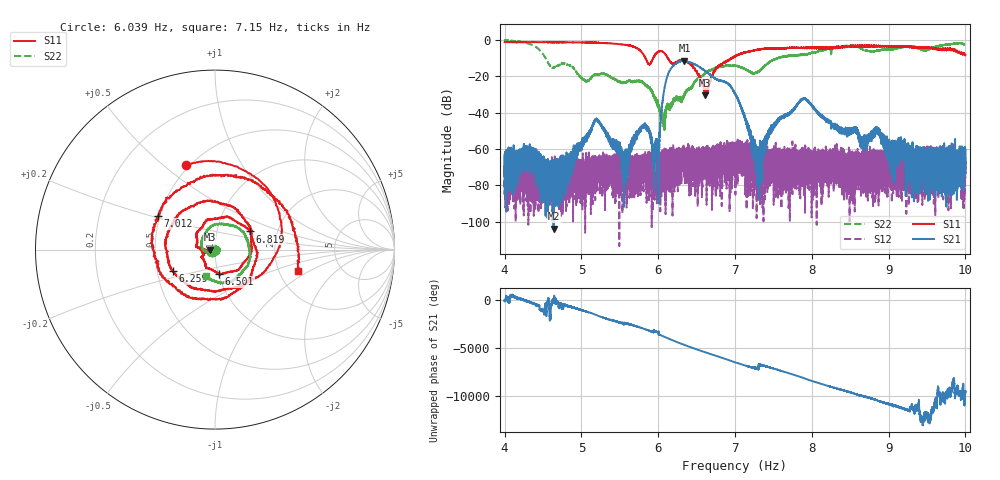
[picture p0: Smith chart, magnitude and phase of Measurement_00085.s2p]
!Created with skrf (http://scikit-rf.org).
# Hz S RI R 50.0
!freq ReS11 ImS11 ReS21 ImS21 ReS12 ImS12 ReS22 ImS22
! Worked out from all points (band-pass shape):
!   14001 points, 4 Hz to 10 Hz, reference 50 ohm
!   highest |S21| = -11.27 dB at 6.341 Hz (marker M1); lowest = -103.9 dB at 4.637 Hz (marker M2)
!   |S21| within 3 dB of the highest: 6.191608 Hz to 6.191751 Hz (143.1 uHz wide, 0.00231 % of centre); 6.193 Hz to 6.52 Hz (326.3 mHz wide, 5.13 % of centre)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
!   lowest |S11| = -30.3 dB at 6.61 Hz (marker M3), VSWR 1.06, Z = 47 + j0.013 ohm
!   |S11| at or under -10 dB: 5.834 Hz to 5.933 Hz (98.24 mHz wide, 1.67 % of centre); 6.125 Hz to 6.955 Hz (829.5 mHz wide, 12.7 % of centre); 6.95604 Hz to 6.956808 Hz (767.5 uHz wide, 0.011 % of centre)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
!   |S22| runs from -49.4 to -0.2 dB; largest |S21 - S12| = 0.27
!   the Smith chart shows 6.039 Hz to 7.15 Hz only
!   S11 on the Smith chart (normalised r, x): 6.039 Hz: 0.48, +0.60; 6.259 Hz: 0.60, -0.16; 6.501 Hz: 1.01, -0.28; 6.819 Hz: 1.44, +0.31; 7.012 Hz: 0.49, +0.21; 7.15 Hz: 2.53, -0.77
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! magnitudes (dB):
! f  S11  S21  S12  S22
! 4 Hz  -1.1  -84.7  -71.2  -0.2
! 4.349 Hz  -1.1  -63.3  -75.0  -2.5
! 4.637 Hz  -1.1  -103.9  -66.9  -15.2
! 5 Hz  -1.3  -56.7  -68.0  -20.8
! 5.197 Hz  -1.4  -43.4  -65.0  -18.9
! 5.56 Hz  -2.5  -65.5  -69.8  -23.5
! 5.802 Hz  -7.5  -47.4  -71.2  -23.5
! 6 Hz  -6.4  -62.4  -64.7  -35.5
! 6.039 Hz  -6.1  -40.4  -64.6  -39.4
! 6.119 Hz  -9.5  -19.9  -66.3  -36.6
! 6.259 Hz  -11.5  -12.2  -61.6  -32.2
! 6.341 Hz  -11.1  -11.3  -70.4  -30.4
! 6.501 Hz  -17.3  -13.8  -69.1  -21.6
! 6.61 Hz  -30.3  -16.9  -69.4  -18.2
! 6.819 Hz  -13.2  -22.4  -66.1  -14.6
! 7 Hz  -8.9  -29.4  -64.0  -14.0
! 7.012 Hz  -8.6  -30.4  -64.7  -14.2
! 7.15 Hz  -6.5  -45.5  -59.4  -16.2
! 7.3 Hz  -5.2  -67.1  -62.2  -17.3
! 8 Hz  -4.4  -36.0  -67.1  -7.0
! 9 Hz  -3.4  -57.7  -64.9  -5.0
! 10 Hz  -8.1  -72.8  -63.6  -3.1
